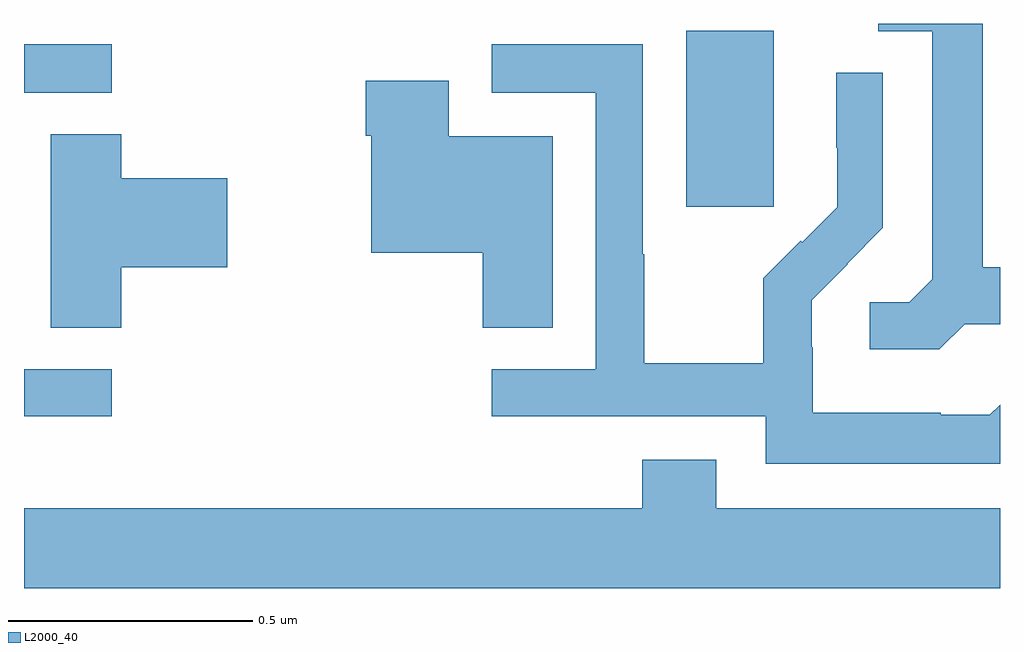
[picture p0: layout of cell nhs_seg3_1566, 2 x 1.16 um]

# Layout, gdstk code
import gdstk
lib = gdstk.Library(unit=1e-6, precision=1e-09)
def R(c, l, rs):  # rectangles x0, y0, x1, y1
    for r in rs: c.add(gdstk.rectangle(r[:2], r[2:], *l))
def P(c, l, *ps):  # polygons
    for p in ps: c.add(gdstk.Polygon(p, *l))
L2000_40 = (2000, 40)

nhs_seg3_1566 = lib.new_cell('nhs_seg3_1566')
R(nhs_seg3_1566, L2000_40, [(130,706.596,130.18,706.692), (131.357,707.025,131.536,707.386), (130,707.259,130.18,707.358)])
P(nhs_seg3_1566, L2000_40, [(131.928,706.785),(132,706.785),(132,706.901),(131.965,706.901),(131.965,707.4),(131.751,707.4),(131.751,707.385),(131.861,707.385),(131.861,706.877),(131.814,706.83),(131.733,706.83),(131.733,706.733),(131.876,706.733)],
  [(132,706.62),(131.979,706.599),(131.879,706.599),(131.879,706.603),(131.616,706.603),(131.616,706.737),(131.614,706.737),(131.614,706.834),(131.688,706.908),(131.687,706.909),(131.76,706.982),(131.76,707.3),(131.664,707.3),(131.664,707.146),(131.666,707.146),(131.666,707.024),(131.595,706.953),(131.592,706.956),(131.515,706.879),(131.515,706.705),(131.271,706.705),(131.271,706.928),(131.268,706.928),(131.268,707.358),(130.959,707.358),(130.959,707.259),(131.172,707.259),(131.172,706.692),(130.959,706.692),(130.959,706.596),(131.52,706.596),(131.52,706.499),(132,706.499)],
  [(131.083,707.17),(130.87,707.17),(130.87,707.284),(130.7,707.284),(130.7,707.171),(130.712,707.171),(130.712,706.931),(130.94,706.931),(130.94,706.777),(131.083,706.777)],
  [(130.199,706.901),(130.417,706.901),(130.417,707.084),(130.199,707.084),(130.199,707.174),(130.055,707.174),(130.055,706.777),(130.199,706.777)],
  [(132,706.408),(131.419,706.408),(131.419,706.507),(131.267,706.507),(131.267,706.408),(130,706.408),(130,706.244),(132,706.244)])

lib.write_gds('nhs_seg3_1566.gds')
